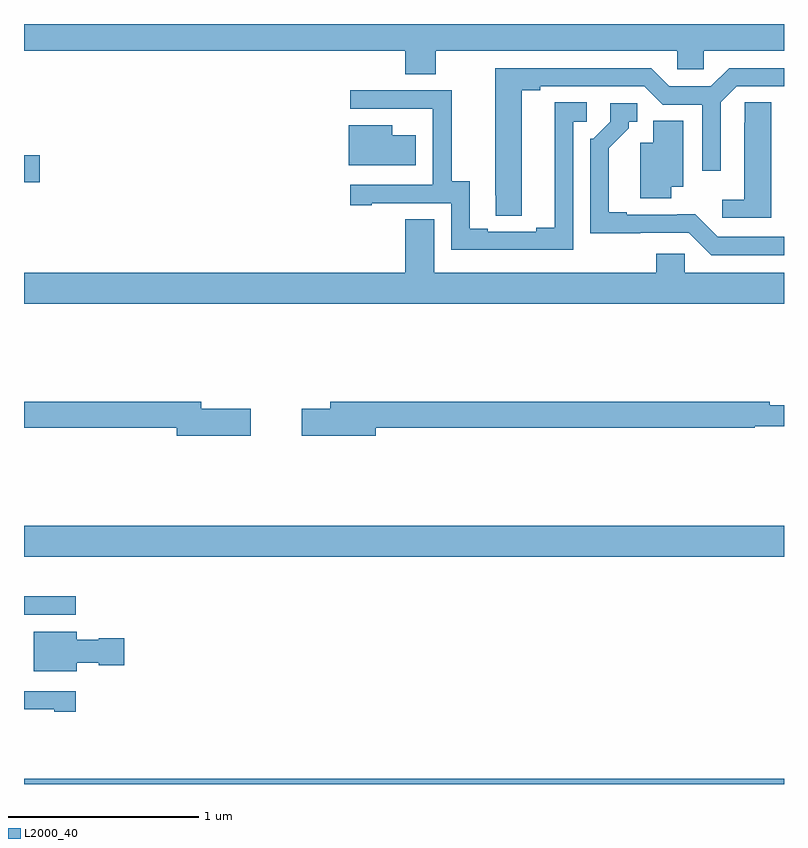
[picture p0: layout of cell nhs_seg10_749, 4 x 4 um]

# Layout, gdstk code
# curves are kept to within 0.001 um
import gdstk
lib = gdstk.Library(unit=1e-6, precision=1e-09)
def R(c, l, rs):  # rectangles x0, y0, x1, y1
    for r in rs: c.add(gdstk.rectangle(r[:2], r[2:], *l))
def P(c, l, *ps):  # polygons
    for p in ps: c.add(gdstk.Polygon(p, *l))
L2000_40 = (2000, 40)

nhs_seg10_749 = lib.new_cell('nhs_seg10_749')
R(nhs_seg10_749, L2000_40, [(149,1252.5,153,1252.528), (149,1253.391,149.272,1253.487), (149,1253.696,153,1253.86), (149,1255.666,149.083,1255.808)])
P(nhs_seg10_749, L2000_40, [(151.167,1256.36),(152.439,1256.36),(152.439,1256.262),(152.577,1256.262),(152.577,1256.36),(153,1256.36),(153,1256.5),(149,1256.5),(149,1256.36),(151.007,1256.36),(151.007,1256.236),(151.167,1256.236)],
  [(151.621,1256.152),(151.717,1256.152),(151.717,1256.172),(152.265,1256.172),(152.361,1256.076),(152.571,1256.076),(152.571,1255.728),(152.667,1255.728),(152.667,1256.088),(152.751,1256.172),(153,1256.172),(153,1256.268),(152.711,1256.268),(152.615,1256.172),(152.397,1256.172),(152.301,1256.268),(151.481,1256.268),(151.482,1255.492),(151.621,1255.492)],
  [(151.89,1255.986),(151.963,1255.986),(151.963,1256.087),(151.793,1256.087),(151.793,1255.427),(151.697,1255.427),(151.697,1255.407),(151.441,1255.407),(151.441,1255.422),(151.345,1255.422),(151.345,1255.673),(151.251,1255.673),(151.251,1256.151),(150.717,1256.151),(150.717,1256.055),(151.151,1256.055),(151.151,1256.054),(151.152,1256.054),(151.152,1255.653),(150.717,1255.653),(150.717,1255.545),(150.829,1255.545),(150.829,1255.557),(151.248,1255.557),(151.248,1255.311),(151.89,1255.311)],
  [(152.932,1256.087),(152.793,1256.087),(152.793,1255.979),(152.792,1255.979),(152.792,1255.576),(152.676,1255.576),(152.676,1255.479),(152.932,1255.479)],
  [(153,1255.38),(152.652,1255.38),(152.534,1255.498),(152.173,1255.497),(152.173,1255.51),(152.077,1255.51),(152.077,1255.846),(152.182,1255.951),(152.182,1255.986),(152.227,1255.986),(152.227,1256.082),(152.085,1256.082),(152.085,1255.986),(151.995,1255.896),(151.98,1255.896),(151.98,1255.4),(152.499,1255.401),(152.616,1255.284),(153,1255.284)],
  [(152.407,1255.643),(152.47,1255.643),(152.47,1255.991),(152.312,1255.991),(152.312,1255.876),(152.243,1255.876),(152.243,1255.582),(152.407,1255.582)],
  [(151.063,1255.915),(150.937,1255.915),(150.937,1255.966),(150.71,1255.966),(150.71,1255.757),(151.063,1255.757)],
  [(153,1255.192),(152.478,1255.192),(152.478,1255.29),(152.327,1255.29),(152.327,1255.192),(151.159,1255.192),(151.159,1255.472),(151.007,1255.472),(151.007,1255.192),(149,1255.192),(149,1255.028),(153,1255.028)],
  [(150.85,1254.376),(152.846,1254.376),(152.846,1254.384),(153,1254.384),(153,1254.493),(152.924,1254.493),(152.924,1254.512),(150.611,1254.512),(150.611,1254.476),(150.462,1254.476),(150.462,1254.334),(150.85,1254.334)],
  [(150.193,1254.476),(149.932,1254.476),(149.932,1254.512),(149,1254.512),(149,1254.376),(149.804,1254.376),(149.804,1254.334),(150.193,1254.334)],
  [(149.278,1253.138),(149.394,1253.138),(149.394,1253.126),(149.527,1253.126),(149.527,1253.268),(149.394,1253.268),(149.394,1253.26),(149.278,1253.26),(149.278,1253.302),(149.051,1253.302),(149.051,1253.093),(149.278,1253.093)],
  [(149.272,1252.989),(149,1252.989),(149,1252.893),(149.159,1252.893),(149.159,1252.881),(149.272,1252.881)])

lib.write_gds('nhs_seg10_749.gds')
